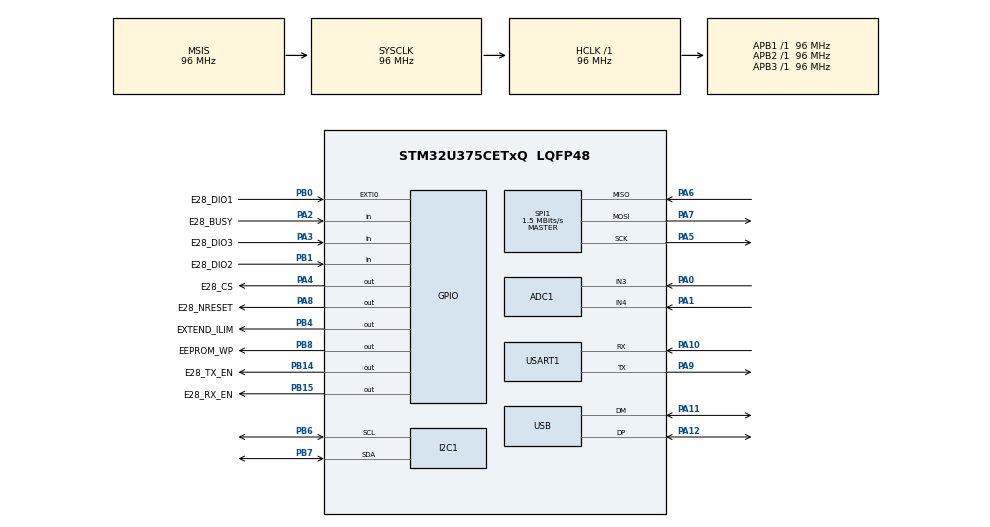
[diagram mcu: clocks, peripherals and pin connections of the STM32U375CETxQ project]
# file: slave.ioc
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ADC1.Channel-1\#ChannelRegularConversion=ADC_CHANNEL_3
ADC1.MonitoredBy-1\#ChannelRegularConversion=__NULL
ADC1.NbrOfConversionFlag=1
ADC1.OffsetNumber-1\#ChannelRegularConversion=ADC_OFFSET_NONE
ADC1.Rank-1\#ChannelRegularConversion=1
ADC1.SamplingTime-1\#ChannelRegularConversion=ADC_SAMPLETIME_1CYCLE_5
ADC1.master=1
CORTEX_M33_NS.userName=CORTEX_M33
I2C1.Timing=0x10B0DCFB
Mcu.Family=STM32U3
Mcu.Name=STM32U375CETxQ
Mcu.Package=LQFP48
NVIC.EXTI0_IRQn=true\:0\:0\:false\:false\:true\:true\:true\:true
NVIC.PriorityGroup=NVIC_PRIORITYGROUP_4
NVIC.TIM6_IRQn=true\:15\:0\:false\:false\:true\:false\:true\:true
NVIC.TimeBase=TIM6_IRQn
NVIC.TimeBaseIP=TIM6
NVIC.USB_FS_IRQn=true\:0\:0\:false\:false\:true\:true\:true\:true
PA0.Mode=IN3-Single-Ended
PA0.Signal=ADC1_IN3
PA1.Mode=IN4-Single-Ended
PA1.Signal=ADC1_IN4
PA10.Mode=Asynchronous
PA10.Signal=USART1_RX
PA11.Mode=Device
PA11.Signal=USB_DM
PA12.Mode=Device
PA12.Signal=USB_DP
PA13\ (JTMS/SWDIO).Mode=Trace_Asynchronous_SW
PA13\ (JTMS/SWDIO).Signal=DEBUG_JTMS-SWDIO
PA14\ (JTCK/SWCLK).Mode=Trace_Asynchronous_SW
PA14\ (JTCK/SWCLK).Signal=DEBUG_JTCK-SWCLK
PA2.GPIO_Label=E28_BUSY
PA2.Signal=GPIO_Input
PA3.GPIO_Label=E28_DIO3
PA3.Signal=GPIO_Input
PA4.GPIO_Label=E28_CS
PA4.GPIO_Speed=GPIO_SPEED_FREQ_LOW
PA4.PinState=GPIO_PIN_SET
PA4.Signal=GPIO_Output
PA5.Mode=Full_Duplex_Master
PA5.Signal=SPI1_SCK
PA6.Mode=Full_Duplex_Master
PA6.Signal=SPI1_MISO
PA7.Mode=Full_Duplex_Master
PA7.Signal=SPI1_MOSI
PA8.GPIO_Label=E28_NRESET
PA8.Signal=GPIO_Output
PA9.Mode=Asynchronous
PA9.Signal=USART1_TX
PB0.GPIO_Label=E28_DIO1
PB0.GPIO_PuPd=GPIO_PULLDOWN
PB0.Signal=GPXTI0
PB1.GPIO_Label=E28_DIO2
PB1.Signal=GPIO_Input
PB14.GPIO_Label=E28_TX_EN
PB14.Signal=GPIO_Output
PB15.GPIO_Label=E28_RX_EN
PB15.Signal=GPIO_Output
PB3\ (JTDO/TRACESWO).Mode=Trace_Asynchronous_SW
PB3\ (JTDO/TRACESWO).Signal=DEBUG_JTDO-SWO
PB4\ (NJTRST).GPIO_Label=EXTEND_ILIM
PB4\ (NJTRST).PinState=GPIO_PIN_SET
PB4\ (NJTRST).Signal=GPIO_Output
PB6.Mode=I2C
PB6.Signal=I2C1_SCL
PB7.Mode=I2C
PB7.Signal=I2C1_SDA
PB8.GPIO_Label=EEPROM_WP
PB8.GPIO_Speed=GPIO_SPEED_FREQ_LOW
PB8.PinState=GPIO_PIN_SET
PB8.Signal=GPIO_Output
PH0-OSC_IN\ (PH0).Mode=HSE-External-Oscillator
PH0-OSC_IN\ (PH0).Signal=RCC_OSC_IN
PH1-OSC_OUT\ (PH1).Mode=HSE-External-Oscillator
PH1-OSC_OUT\ (PH1).Signal=RCC_OSC_OUT
ProjectManager.HeapSize=0x200
ProjectManager.StackSize=0x400
ProjectManager.TargetToolchain=STM32CubeIDE
RCC.ADCFreq_Value=96000000
RCC.AHBFreq_Value=96000000
RCC.APB1Freq_Value=96000000
RCC.APB1TimFreq_Value=96000000
RCC.APB2Freq_Value=96000000
RCC.APB2TimFreq_Value=96000000
RCC.APB3Freq_Value=96000000
RCC.CortexFreq_Value=12000000
RCC.HCLKFreq_Value=96000000
RCC.HSE_VALUE=12000000
RCC.HSI48_VALUE=48000000
RCC.HSI_VALUE=16000000
RCC.ICLKCLockSelection=RCC_ICLKCLKSOURCE_HSI48
RCC.LSE_VALUE=32768
RCC.LSIDIV_VALUE=32000
RCC.MSISDIV=RCC_MSI_DIV1
RCC.SYSCLKFreq_VALUE=96000000
RCC.USBFreq_Value=48000000
SPI1.BaudRatePrescaler=SPI_BAUDRATEPRESCALER_64
SPI1.CalculateBaudRate=1.5 MBits/s
SPI1.DataSize=SPI_DATASIZE_8BIT
SPI1.Direction=SPI_DIRECTION_2LINES
SPI1.Mode=SPI_MODE_MASTER
SPI1.VirtualType=VM_MASTER
STMicroelectronics.X-CUBE-FREERTOS.1.4.0.configCHECK_FOR_STACK_OVERFLOW=2
STMicroelectronics.X-CUBE-FREERTOS.1.4.0.configTOTAL_HEAP_SIZE=16384
STMicroelectronics.X-CUBE-FREERTOS.1.4.0.configUSE_MALLOC_FAILED_HOOK=1
STMicroelectronics.X-CUBE-FREERTOS.1.4.0.configUSE_NEWLIB_REENTRANT=1
USART1.VirtualMode-Asynchronous=VM_ASYNC
USB.VirtualMode=Device_Only
USBX.BSP.number=1
USBX.Core_System=1
USBX.MAX_POWER_IN_MILLI_AMPER=500
USBX.USBD_CDCACM_EPIN_ADDR=2
USBX.USBD_CDCACM_EPOUT_ADDR=3
USBX.USBX_DEVICE_SYS_SIZE=16384
USBX.UX_DEVICE_APP_MEM_POOL_SIZE_STANDALONE=16384
USBX.UX_DEVICE_CDC_ACM=1
USBX.UX_DEVICE_CLASS_CDC_ACM_TRANSMISSION_DISABLE=0
USBX.UX_Device_Controller=1
USBX.UX_Device_CoreStack=1
USBX0.BSP.STBoard=false
USBX0.BSP.api=Unknown
USBX0.BSP.instance=USB
USBX0.BSP.ip=USB
USBX0.BSP.mode=Device_Only
USBX0.BSP.name=USB_Device
USBX0.BSP.solution=USB
VP_ICACHE_VS_ICACHE.Mode=DirectMappedCache
VP_MEMORYMAP_VS_MEMORYMAP.Mode=CurAppReg
VP_PWR_VS_DBSignals.Mode=DisableDeadBatterySignals
VP_PWR_VS_LPOM.Mode=PowerOptimisation
VP_PWR_VS_SECSignals.Mode=Security/Privilege
VP_RCC_USB.Mode=CRS SYNC Source USB
VP_SYS_VS_tim6.Mode=TIM6
VP_USBX_Core_System.Mode=Core_System
VP_USBX_UX\ Device\ CDC\ ACM\ Class_FS.Mode=UX_Device_class_CDC_ACM_FS
VP_USBX_UX\ Device\ Controller_FS.Mode=UX_Device_Controller_FS
VP_USBX_UX\ Device\ CoreStack_FS.Mode=UX_Device_CoreStack_FS
board=custom

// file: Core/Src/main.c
/* USER CODE BEGIN Header */
/**
  ******************************************************************************
  * @file           : main.c
  * @brief          : Main program body
  ******************************************************************************
  * @attention
  *
  * Copyright (c) 2026 STMicroelectronics.
  * All rights reserved.
  *
  * This software is licensed under terms that can be found in the LICENSE file
  * in the root directory of this software component.
  * If no LICENSE file comes with this software, it is provided AS-IS.
  *
  ******************************************************************************
  */
/* USER CODE END Header */
#include "main.h"
#include "app_usbx_device.h"

/* USER CODE BEGIN Includes */
#include "e28_radio.h"
#include "usb_link.h"
#include "safety.h"
#include "stats.h"
#include "perf.h"
/* USER CODE END Includes */

ADC_HandleTypeDef hadc1;

I2C_HandleTypeDef hi2c1;

SPI_HandleTypeDef hspi1;

UART_HandleTypeDef huart1;

PCD_HandleTypeDef hpcd_USB_DRD_FS;

void SystemClock_Config(void);
static void MX_GPIO_Init(void);
static void MX_I2C1_Init(void);
static void MX_SPI1_Init(void);
static void MX_USART1_UART_Init(void);
static void MX_USB_PCD_Init(void);
static void MX_ADC1_Init(void);
static void MX_ICACHE_Init(void);

int main(void)
{

  /* MCU Configuration--------------------------------------------------------*/

  /* Reset of all peripherals, Initializes the Flash interface and the Systick. */
  HAL_Init();

  /* Configure the system clock */
  SystemClock_Config();

  /* Initialize all configured peripherals */
  MX_GPIO_Init();
  MX_I2C1_Init();
  MX_SPI1_Init();
  MX_USART1_UART_Init();
  MX_USB_PCD_Init();
  MX_ADC1_Init();
  MX_ICACHE_Init();
  MX_USBX_Device_Init();
  /* USER CODE BEGIN 2 */
  if (ux_dcd_stm32_initialize((ULONG)USB_DRD_FS,
                                (ULONG)&hpcd_USB_DRD_FS) != UX_SUCCESS)
	{
	  Error_Handler();
	}

	if (HAL_PCD_Start(&hpcd_USB_DRD_FS) != HAL_OK)
	{
	  Error_Handler();
	}

  UsbLink_Init();
  E28_Init();

  if (E28_GetTestResult() == E28_TEST_OK)
  {
    (void)E28_Radio_RelayInit();
  }

  /* Last, so the boot-time schema reflects a fully initialised board. */
  Stats_Init();
  /* USER CODE END 2 */

  /* Infinite loop */
  while (1)
  {

    /* USER CODE BEGIN 3 */
    /* Each stage timed separately, and the whole pass as "loop": on a
       bare-metal board the loop rate is the CPU budget, and these four
       sections show where it goes. Stats_Poll sits outside the loop timing
       so the report it sends is not counted inside the pass it measures. */
    {
      PERF_BEGIN(PERF_LOOP);
      {
        PERF_BEGIN(PERF_USBX);
        ux_system_tasks_run();
        PERF_END(PERF_USBX);
      }
      {
        PERF_BEGIN(PERF_USBLINK);
        UsbLink_Poll();
        PERF_END(PERF_USBLINK);
      }
      {
        PERF_BEGIN(PERF_RELAY);
        E28_Radio_RelayPoll();
        PERF_END(PERF_RELAY);
      }
      PERF_END(PERF_LOOP);
    }

    Stats_Poll();
  }
  /* USER CODE END 3 */
}

void SystemClock_Config(void)
{
  RCC_OscInitTypeDef RCC_OscInitStruct = {0};
  RCC_ClkInitTypeDef RCC_ClkInitStruct = {0};
  RCC_CRSInitTypeDef RCC_CRSInitStruct = {0};

  /** Configure the System Power Supply
  */
  if (HAL_PWREx_ConfigSupply(PWR_SMPS_SUPPLY) != HAL_OK)
  {
    Error_Handler();
  }

  /** Enable Epod Booster
  */
  if (HAL_RCCEx_EpodBoosterClkConfig(RCC_EPODBOOSTER_SOURCE_MSIS, RCC_EPODBOOSTER_DIV1) != HAL_OK)
  {
    Error_Handler();
  }
  if (HAL_PWREx_EnableEpodBooster() != HAL_OK)
  {
    Error_Handler();
  }

  /** Configure the main internal regulator output voltage
  */
  if (HAL_PWREx_ControlVoltageScaling(PWR_REGULATOR_VOLTAGE_SCALE1) != HAL_OK)
  {
    Error_Handler();
  }

  /** Set Flash latency before increasing MSIS
  */
  __HAL_FLASH_SET_LATENCY(FLASH_LATENCY_2);

  /** Initializes the CPU, AHB and APB buses clocks
  */
  RCC_OscInitStruct.OscillatorType = RCC_OSCILLATORTYPE_HSI48|RCC_OSCILLATORTYPE_MSIS;
  RCC_OscInitStruct.HSI48State = RCC_HSI48_ON;
  RCC_OscInitStruct.MSISState = RCC_MSI_ON;
  RCC_OscInitStruct.MSISSource = RCC_MSI_RC0;
  RCC_OscInitStruct.MSISDiv = RCC_MSI_DIV1;
  if (HAL_RCC_OscConfig(&RCC_OscInitStruct) != HAL_OK)
  {
    Error_Handler();
  }

  /** Initializes the CPU, AHB and APB buses clocks
  */
  RCC_ClkInitStruct.ClockType = RCC_CLOCKTYPE_HCLK|RCC_CLOCKTYPE_SYSCLK
                              |RCC_CLOCKTYPE_PCLK1|RCC_CLOCKTYPE_PCLK2
                              |RCC_CLOCKTYPE_PCLK3;
  RCC_ClkInitStruct.SYSCLKSource = RCC_SYSCLKSOURCE_MSIS;
  RCC_ClkInitStruct.AHBCLKDivider = RCC_SYSCLK_DIV1;
  RCC_ClkInitStruct.APB1CLKDivider = RCC_HCLK_DIV1;
  RCC_ClkInitStruct.APB2CLKDivider = RCC_HCLK_DIV1;
  RCC_ClkInitStruct.APB3CLKDivider = RCC_HCLK_DIV1;

  if (HAL_RCC_ClockConfig(&RCC_ClkInitStruct, FLASH_LATENCY_2) != HAL_OK)
  {
    Error_Handler();
  }

  /** Enable the CRS clock
  */
  __HAL_RCC_CRS_CLK_ENABLE();

  /** Configures CRS
  */
  RCC_CRSInitStruct.Prescaler = RCC_CRS_SYNC_DIV1;
  RCC_CRSInitStruct.Source = RCC_CRS_SYNC_SOURCE_USB;
  RCC_CRSInitStruct.Polarity = RCC_CRS_SYNC_POLARITY_RISING;
  RCC_CRSInitStruct.ReloadValue = __HAL_RCC_CRS_RELOADVALUE_CALCULATE(48000000,1000);
  RCC_CRSInitStruct.ErrorLimitValue = 34;
  RCC_CRSInitStruct.HSI48CalibrationValue = 32;

  HAL_RCCEx_CRSConfig(&RCC_CRSInitStruct);
}

static void MX_ADC1_Init(void)
{

  ADC_ChannelConfTypeDef sConfig = {0};

  /** Common config
  */
  hadc1.Instance = ADC1;
  hadc1.Init.Resolution = ADC_RESOLUTION_12B;
  hadc1.Init.GainCompensation = 0;
  hadc1.Init.ScanConvMode = ADC_SCAN_DISABLE;
  hadc1.Init.EOCSelection = ADC_EOC_SINGLE_CONV;
  hadc1.Init.LowPowerAutoWait = DISABLE;
  hadc1.Init.ContinuousConvMode = DISABLE;
  hadc1.Init.NbrOfConversion = 1;
  hadc1.Init.DiscontinuousConvMode = DISABLE;
  hadc1.Init.ExternalTrigConv = ADC_SOFTWARE_START;
  hadc1.Init.ExternalTrigConvEdge = ADC_EXTERNALTRIGCONVEDGE_NONE;
  hadc1.Init.Overrun = ADC_OVR_DATA_PRESERVED;
  hadc1.Init.LeftBitShift = ADC_LEFTBITSHIFT_NONE;
  hadc1.Init.ConversionDataManagement = ADC_CONVERSIONDATA_DR;
  hadc1.Init.OversamplingMode = DISABLE;
  if (HAL_ADC_Init(&hadc1) != HAL_OK)
  {
    Error_Handler();
  }

  /** Configure Regular Channel
  */
  sConfig.Channel = ADC_CHANNEL_3;
  sConfig.Rank = ADC_REGULAR_RANK_1;
  sConfig.SamplingTime = ADC_SAMPLETIME_1CYCLE_5;
  sConfig.OffsetNumber = ADC_OFFSET_NONE;
  sConfig.Offset = 0;
  if (HAL_ADC_ConfigChannel(&hadc1, &sConfig) != HAL_OK)
  {
    Error_Handler();
  }

}

static void MX_I2C1_Init(void)
{

  hi2c1.Instance = I2C1;
  hi2c1.Init.Timing = 0x10B0DCFB;
  hi2c1.Init.OwnAddress1 = 0;
  hi2c1.Init.AddressingMode = I2C_ADDRESSINGMODE_7BIT;
  hi2c1.Init.DualAddressMode = I2C_DUALADDRESS_DISABLE;
  hi2c1.Init.OwnAddress2 = 0;
  hi2c1.Init.OwnAddress2Masks = I2C_OA2_NOMASK;
  hi2c1.Init.GeneralCallMode = I2C_GENERALCALL_DISABLE;
  hi2c1.Init.NoStretchMode = I2C_NOSTRETCH_DISABLE;
  if (HAL_I2C_Init(&hi2c1) != HAL_OK)
  {
    Error_Handler();
  }

  /** Configure Analogue filter
  */
  if (HAL_I2CEx_ConfigAnalogFilter(&hi2c1, I2C_ANALOGFILTER_ENABLE) != HAL_OK)
  {
    Error_Handler();
  }

  /** Configure Digital filter
  */
  if (HAL_I2CEx_ConfigDigitalFilter(&hi2c1, 0) != HAL_OK)
  {
    Error_Handler();
  }

}

static void MX_ICACHE_Init(void)
{

  /** Enable instruction cache in 1-way (direct mapped cache)
  */
  if (HAL_ICACHE_ConfigAssociativityMode(ICACHE_1WAY) != HAL_OK)
  {
    Error_Handler();
  }
  if (HAL_ICACHE_Enable() != HAL_OK)
  {
    Error_Handler();
  }

}

static void MX_SPI1_Init(void)
{

  SPI_AutonomousModeConfTypeDef HAL_SPI_AutonomousMode_Cfg_Struct = {0};

  /* SPI1 parameter configuration*/
  hspi1.Instance = SPI1;
  hspi1.Init.Mode = SPI_MODE_MASTER;
  hspi1.Init.Direction = SPI_DIRECTION_2LINES;
  hspi1.Init.DataSize = SPI_DATASIZE_8BIT;
  hspi1.Init.CLKPolarity = SPI_POLARITY_LOW;
  hspi1.Init.CLKPhase = SPI_PHASE_1EDGE;
  hspi1.Init.NSS = SPI_NSS_SOFT;
  hspi1.Init.BaudRatePrescaler = SPI_BAUDRATEPRESCALER_64;
  hspi1.Init.FirstBit = SPI_FIRSTBIT_MSB;
  hspi1.Init.TIMode = SPI_TIMODE_DISABLE;
  hspi1.Init.CRCCalculation = SPI_CRCCALCULATION_DISABLE;
  hspi1.Init.CRCPolynomial = 0x7;
  hspi1.Init.NSSPMode = SPI_NSS_PULSE_ENABLE;
  hspi1.Init.NSSPolarity = SPI_NSS_POLARITY_LOW;
  hspi1.Init.FifoThreshold = SPI_FIFO_THRESHOLD_01DATA;
  hspi1.Init.MasterSSIdleness = SPI_MASTER_SS_IDLENESS_00CYCLE;
  hspi1.Init.MasterInterDataIdleness = SPI_MASTER_INTERDATA_IDLENESS_00CYCLE;
  hspi1.Init.MasterReceiverAutoSusp = SPI_MASTER_RX_AUTOSUSP_DISABLE;
  hspi1.Init.MasterKeepIOState = SPI_MASTER_KEEP_IO_STATE_DISABLE;
  hspi1.Init.IOSwap = SPI_IO_SWAP_DISABLE;
  hspi1.Init.ReadyMasterManagement = SPI_RDY_MASTER_MANAGEMENT_INTERNALLY;
  hspi1.Init.ReadyPolarity = SPI_RDY_POLARITY_HIGH;
  if (HAL_SPI_Init(&hspi1) != HAL_OK)
  {
    Error_Handler();
  }
  HAL_SPI_AutonomousMode_Cfg_Struct.TriggerState = SPI_AUTO_MODE_DISABLE;
  HAL_SPI_AutonomousMode_Cfg_Struct.TriggerSelection = SPI_GRP1_GPDMA_CH0_TCF_TRG;
  HAL_SPI_AutonomousMode_Cfg_Struct.TriggerPolarity = SPI_TRIG_POLARITY_RISING;
  if (HAL_SPIEx_SetConfigAutonomousMode(&hspi1, &HAL_SPI_AutonomousMode_Cfg_Struct) != HAL_OK)
  {
    Error_Handler();
  }

}

static void MX_USART1_UART_Init(void)
{

  huart1.Instance = USART1;
  huart1.Init.BaudRate = 115200;
  huart1.Init.WordLength = UART_WORDLENGTH_8B;
  huart1.Init.StopBits = UART_STOPBITS_1;
  huart1.Init.Parity = UART_PARITY_NONE;
  huart1.Init.Mode = UART_MODE_TX_RX;
  huart1.Init.HwFlowCtl = UART_HWCONTROL_NONE;
  huart1.Init.OverSampling = UART_OVERSAMPLING_16;
  huart1.Init.OneBitSampling = UART_ONE_BIT_SAMPLE_DISABLE;
  huart1.Init.ClockPrescaler = UART_PRESCALER_DIV1;
  huart1.AdvancedInit.AdvFeatureInit = UART_ADVFEATURE_NO_INIT;
  if (HAL_UART_Init(&huart1) != HAL_OK)
  {
    Error_Handler();
  }
  if (HAL_UARTEx_SetTxFifoThreshold(&huart1, UART_TXFIFO_THRESHOLD_1_8) != HAL_OK)
  {
    Error_Handler();
  }
  if (HAL_UARTEx_SetRxFifoThreshold(&huart1, UART_RXFIFO_THRESHOLD_1_8) != HAL_OK)
  {
    Error_Handler();
  }
  if (HAL_UARTEx_DisableFifoMode(&huart1) != HAL_OK)
  {
    Error_Handler();
  }

}

static void MX_USB_PCD_Init(void)
{

  hpcd_USB_DRD_FS.Instance = USB_DRD_FS;
  hpcd_USB_DRD_FS.Init.dev_endpoints = 8;
  hpcd_USB_DRD_FS.Init.speed = USBD_FS_SPEED;
  hpcd_USB_DRD_FS.Init.phy_itface = PCD_PHY_EMBEDDED;
  hpcd_USB_DRD_FS.Init.Sof_enable = DISABLE;
  hpcd_USB_DRD_FS.Init.low_power_enable = DISABLE;
  hpcd_USB_DRD_FS.Init.lpm_enable = DISABLE;
  hpcd_USB_DRD_FS.Init.battery_charging_enable = DISABLE;
  hpcd_USB_DRD_FS.Init.vbus_sensing_enable = DISABLE;
  hpcd_USB_DRD_FS.Init.bulk_doublebuffer_enable = DISABLE;
  hpcd_USB_DRD_FS.Init.iso_singlebuffer_enable = DISABLE;
  if (HAL_PCD_Init(&hpcd_USB_DRD_FS) != HAL_OK)
  {
    Error_Handler();
  }
  /* USER CODE BEGIN USB_Init 2 */
  /* Allocate packet memory for every endpoint. The USB_DRD_FS peripheral has
       no automatic allocation: the first 0x40 bytes of PMA hold the buffer
       descriptor table for 8 endpoint pairs, and user buffers follow. Skipping
       this makes the device transmit whatever is already in packet memory --
       which looks like a malformed descriptor rather than a missing one.

       Addresses must not overlap, and each must leave room for its endpoint's
       max packet size. */
    HAL_PCDEx_PMAConfig(&hpcd_USB_DRD_FS, 0x00, PCD_SNG_BUF, 0x040);  /* EP0 OUT, 64 B */
    HAL_PCDEx_PMAConfig(&hpcd_USB_DRD_FS, 0x80, PCD_SNG_BUF, 0x080);  /* EP0 IN,  64 B */
    HAL_PCDEx_PMAConfig(&hpcd_USB_DRD_FS, 0x81, PCD_SNG_BUF, 0x0C0);  /* CDC INT IN,  8 B */
    HAL_PCDEx_PMAConfig(&hpcd_USB_DRD_FS, 0x82, PCD_SNG_BUF, 0x0C8);  /* CDC BULK IN, 64 B */
    HAL_PCDEx_PMAConfig(&hpcd_USB_DRD_FS, 0x03, PCD_SNG_BUF, 0x108);  /* CDC BULK OUT,64 B */
  /* USER CODE END USB_Init 2 */

}

static void MX_GPIO_Init(void)
{
  GPIO_InitTypeDef GPIO_InitStruct = {0};

  /* GPIO Ports Clock Enable */
  __HAL_RCC_GPIOH_CLK_ENABLE();
  __HAL_RCC_GPIOA_CLK_ENABLE();
  __HAL_RCC_GPIOB_CLK_ENABLE();

  /*Configure GPIO pin Output Level */
  HAL_GPIO_WritePin(E28_CS_GPIO_Port, E28_CS_Pin, GPIO_PIN_SET);

  /*Configure GPIO pin Output Level */
  HAL_GPIO_WritePin(GPIOB, E28_TX_EN_Pin|E28_RX_EN_Pin, GPIO_PIN_RESET);

  /*Configure GPIO pin Output Level */
  HAL_GPIO_WritePin(E28_NRESET_GPIO_Port, E28_NRESET_Pin, GPIO_PIN_RESET);

  /*Configure GPIO pin Output Level */
  HAL_GPIO_WritePin(GPIOB, EXTEND_ILIM_Pin|EEPROM_WP_Pin, GPIO_PIN_SET);

  /*Configure GPIO pins : E28_BUSY_Pin E28_DIO3_Pin */
  GPIO_InitStruct.Pin = E28_BUSY_Pin|E28_DIO3_Pin;
  GPIO_InitStruct.Mode = GPIO_MODE_INPUT;
  GPIO_InitStruct.Pull = GPIO_NOPULL;
  HAL_GPIO_Init(GPIOA, &GPIO_InitStruct);

  /*Configure GPIO pins : E28_CS_Pin E28_NRESET_Pin */
  GPIO_InitStruct.Pin = E28_CS_Pin|E28_NRESET_Pin;
  GPIO_InitStruct.Mode = GPIO_MODE_OUTPUT_PP;
  GPIO_InitStruct.Pull = GPIO_NOPULL;
  GPIO_InitStruct.Speed = GPIO_SPEED_FREQ_LOW;
  HAL_GPIO_Init(GPIOA, &GPIO_InitStruct);

  /*Configure GPIO pin : E28_DIO1_Pin */
  GPIO_InitStruct.Pin = E28_DIO1_Pin;
  GPIO_InitStruct.Mode = GPIO_MODE_IT_RISING;
  GPIO_InitStruct.Pull = GPIO_PULLDOWN;
  HAL_GPIO_Init(E28_DIO1_GPIO_Port, &GPIO_InitStruct);

  /*Configure GPIO pin : E28_DIO2_Pin */
  GPIO_InitStruct.Pin = E28_DIO2_Pin;
  GPIO_InitStruct.Mode = GPIO_MODE_INPUT;
  GPIO_InitStruct.Pull = GPIO_NOPULL;
  HAL_GPIO_Init(E28_DIO2_GPIO_Port, &GPIO_InitStruct);

  /*Configure GPIO pins : E28_TX_EN_Pin E28_RX_EN_Pin EXTEND_ILIM_Pin EEPROM_WP_Pin */
  GPIO_InitStruct.Pin = E28_TX_EN_Pin|E28_RX_EN_Pin|EXTEND_ILIM_Pin|EEPROM_WP_Pin;
  GPIO_InitStruct.Mode = GPIO_MODE_OUTPUT_PP;
  GPIO_InitStruct.Pull = GPIO_NOPULL;
  GPIO_InitStruct.Speed = GPIO_SPEED_FREQ_LOW;
  HAL_GPIO_Init(GPIOB, &GPIO_InitStruct);

  /* EXTI interrupt init*/
  HAL_NVIC_SetPriority(EXTI0_IRQn, 0, 0);
  HAL_NVIC_EnableIRQ(EXTI0_IRQn);

}

void HAL_TIM_PeriodElapsedCallback(TIM_HandleTypeDef *htim)
{
  if (htim->Instance == TIM6)
  {
    HAL_IncTick();
  }
}

void Error_Handler(void)
{
  /* USER CODE BEGIN Error_Handler_Debug */
  /* Called by CubeMX init code when a HAL call fails. Used to spin silently;
     now it shuts the radio down and latches the call site -- the return
     address of this function -- so addr2line can say which init failed. */
  Safety_ErrorHandler(__builtin_return_address(0));
  /* USER CODE END Error_Handler_Debug */
}
